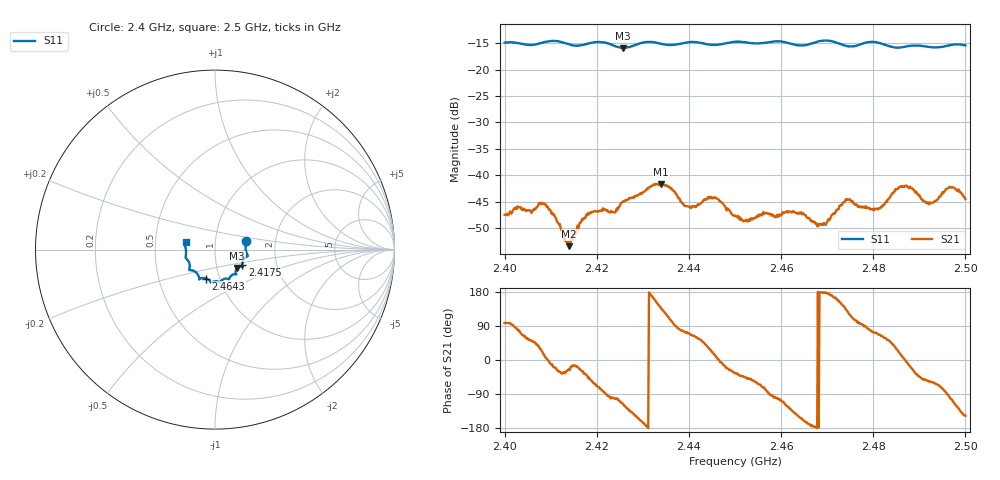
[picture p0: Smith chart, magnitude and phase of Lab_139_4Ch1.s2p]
# Hz S RI R 50
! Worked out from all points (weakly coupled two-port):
!   601 points, 2.4 GHz to 2.5 GHz, reference 50 ohm
!   highest |S21| = -41.62 dB at 2.434 GHz (marker M1); lowest = -53.4 dB at 2.414 GHz (marker M2)
!   lowest |S11| = -15.9 dB at 2.4257 GHz (marker M3), VSWR 1.38, Z = 62.5 - j13.1 ohm
!   |S11| at or under -10 dB: start of sweep to end of sweep
!   S12 and S22 are empty: the file has one direction only
!   S11 on the Smith chart (normalised r, x): 2.4 GHz: 1.41, +0.14; 2.4175 GHz: 1.34, -0.23; 2.4643 GHz: 0.86, -0.29; 2.5 GHz: 0.72, +0.06
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2.4e9  0.1729 0.0489  -0.000568 0.0042  0 0  0 0
2.4085e9  0.1796 -0.025  0.00521 0.00132  0 0  0 0
2.414e9  0.1661 -0.0468  0.00195 -0.000868  0 0  0 0
2.416667e9  0.1526 -0.0741  0.00322 -0.00175  0 0  0 0
2.4175e9  0.1517 -0.0834  0.00311 -0.0024  0 0  0 0
2.423667e9  0.1399 -0.0942  -0.000813 -0.00441  0 0  0 0
2.425667e9  0.1232 -0.1022  -0.00245 -0.0051  0 0  0 0
2.433333e9  0.1128 -0.1371  -0.00676 0.00446  0 0  0 0
2.434e9  0.1091 -0.1368  -0.00591 0.00582  0 0  0 0
2.4395e9  0.0798 -0.1617  0.00145 0.00491  0 0  0 0
2.445333e9  0.0531 -0.1625  0.00579 0.00176  0 0  0 0
2.45e9  0.0288 -0.1809  0.00338 -0.00234  0 0  0 0
2.464333e9  -0.0499 -0.161  -0.00403 -0.00194  0 0  0 0
2.466667e9  -0.0759 -0.1593  -0.00361 -0.000507  0 0  0 0
2.4695e9  -0.0885 -0.1661  -0.00346 0.00016  0 0  0 0
2.4745e9  -0.1018 -0.1312  -0.0035 0.00474  0 0  0 0
2.479833e9  -0.1434 -0.1132  0.00127 0.00463  0 0  0 0
2.483333e9  -0.1407 -0.0901  0.00364 0.00476  0 0  0 0
2.486833e9  -0.1538 -0.0569  0.00782 0.000131  0 0  0 0
2.491667e9  -0.1621 -0.0287  0.00319 -0.00445  0 0  0 0
2.496833e9  -0.1685 0.0261  -0.00171 -0.00754  0 0  0 0
2.5e9  -0.1636 0.0428  -0.00501 -0.00325  0 0  0 0
